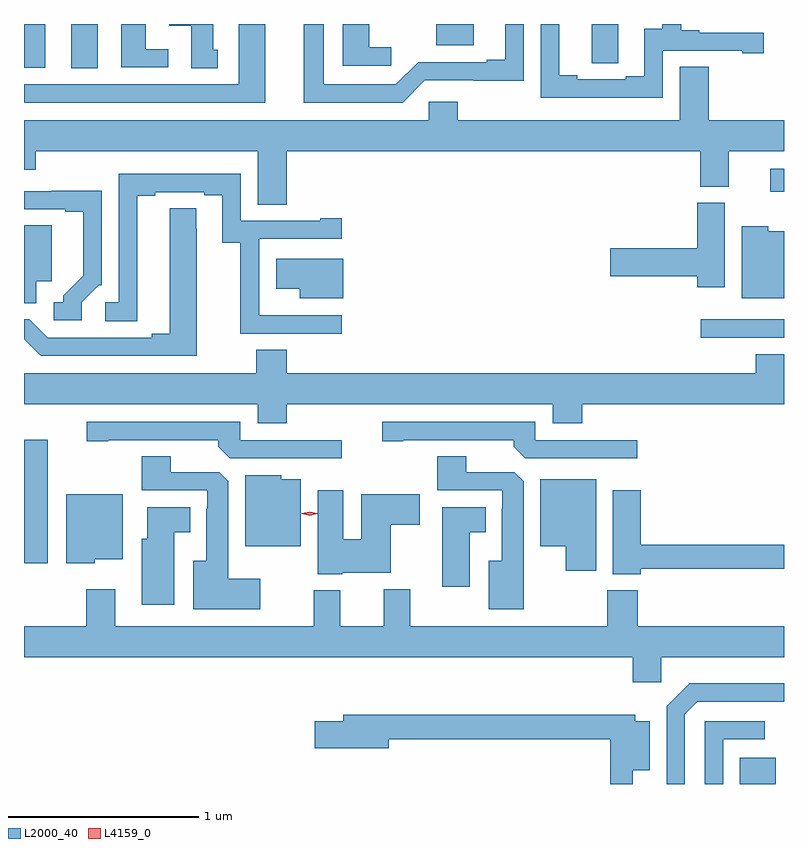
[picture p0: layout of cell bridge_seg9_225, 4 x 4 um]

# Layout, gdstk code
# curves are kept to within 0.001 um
import gdstk
lib = gdstk.Library(unit=1e-6, precision=1e-09)
def R(c, l, rs):  # rectangles x0, y0, x1, y1
    for r in rs: c.add(gdstk.rectangle(r[:2], r[2:], *l))
def P(c, l, *ps):  # polygons
    for p in ps: c.add(gdstk.Polygon(p, *l))
L2000_40 = (2000, 40)
L4159_0 = (4159, 0)

bridge_seg9_225 = lib.new_cell('bridge_seg9_225')
R(bridge_seg9_225, L2000_40, [(151.367,1193.09,151.555,1193.227), (147.599,1194.252,147.724,1194.901), (151.161,1195.44,151.599,1195.536), (151.527,1196.207,151.599,1196.329), (147.848,1196.857,147.988,1197.09), (147.599,1196.861,147.712,1197.09), (149.768,1196.978,149.965,1197.09)])
P(bridge_seg9_225, L2000_40, [(149.709,1196.793),(150.228,1196.792),(150.228,1197.09),(150.131,1197.09),(150.131,1196.902),(150.035,1196.902),(150.035,1196.889),(149.673,1196.889),(149.556,1196.772),(149.176,1196.772),(149.176,1197.09),(149.072,1197.09),(149.072,1196.676),(149.592,1196.676)],
  [(148.618,1196.955),(148.594,1196.955),(148.594,1197.09),(148.364,1197.09),(148.364,1197.08),(148.478,1197.08),(148.478,1196.857),(148.618,1196.857)],
  [(149.533,1196.968),(149.416,1196.968),(149.416,1197.09),(149.276,1197.09),(149.276,1196.871),(149.533,1196.871)],
  [(148.87,1197.09),(148.73,1197.09),(148.73,1196.772),(147.599,1196.772),(147.599,1196.676),(148.87,1196.676)],
  [(150.96,1196.949),(151.379,1196.949),(151.379,1196.937),(151.492,1196.937),(151.492,1197.045),(151.153,1197.045),(151.153,1197.058),(151.058,1197.058),(151.058,1197.09),(150.958,1197.09),(150.958,1197.065),(150.863,1197.065),(150.863,1196.814),(150.767,1196.814),(150.767,1196.799),(150.511,1196.799),(150.511,1196.819),(150.415,1196.819),(150.415,1197.09),(150.318,1197.09),(150.318,1196.703),(150.96,1196.703)],
  [(148.357,1196.958),(148.24,1196.958),(148.24,1197.09),(148.112,1197.09),(148.112,1196.862),(148.357,1196.862)],
  [(150.726,1196.992),(150.727,1196.992),(150.727,1197.09),(150.587,1197.09),(150.587,1196.884),(150.726,1196.884)],
  [(148.982,1196.42),(151.157,1196.42),(151.157,1196.233),(151.309,1196.233),(151.309,1196.42),(151.599,1196.42),(151.599,1196.584),(151.202,1196.584),(151.202,1196.864),(151.049,1196.864),(151.049,1196.584),(149.882,1196.584),(149.882,1196.682),(149.73,1196.682),(149.73,1196.584),(147.599,1196.584),(147.599,1196.322),(147.662,1196.322),(147.662,1196.42),(148.829,1196.42),(148.829,1196.14),(148.982,1196.14)],
  [(149.272,1195.557),(148.838,1195.557),(148.838,1195.558),(148.836,1195.558),(148.836,1195.959),(149.272,1195.959),(149.272,1196.068),(149.159,1196.068),(149.159,1196.055),(148.74,1196.055),(148.74,1196.301),(148.098,1196.301),(148.098,1195.626),(148.026,1195.626),(148.026,1195.525),(148.195,1195.525),(148.195,1196.185),(148.291,1196.185),(148.291,1196.205),(148.547,1196.205),(148.547,1196.19),(148.643,1196.19),(148.643,1195.939),(148.738,1195.939),(148.738,1195.461),(149.272,1195.461)],
  [(147.903,1195.626),(147.993,1195.716),(148.008,1195.716),(148.008,1196.213),(147.745,1196.213),(147.745,1196.211),(147.599,1196.211),(147.599,1196.115),(147.815,1196.115),(147.815,1196.103),(147.911,1196.103),(147.911,1195.766),(147.806,1195.661),(147.806,1195.626),(147.756,1195.626),(147.756,1195.53),(147.903,1195.53)],
  [(151.288,1196.148),(151.142,1196.148),(151.142,1195.91),(150.684,1195.91),(150.684,1195.763),(151.142,1195.763),(151.142,1195.704),(151.288,1195.704)],
  [(148.507,1196.012),(148.506,1196.12),(148.367,1196.12),(148.367,1195.46),(148.271,1195.46),(148.271,1195.44),(147.723,1195.44),(147.627,1195.536),(147.599,1195.536),(147.599,1195.432),(147.687,1195.344),(148.507,1195.344)],
  [(147.664,1195.736),(147.745,1195.736),(147.745,1196.03),(147.599,1196.03),(147.599,1195.621),(147.664,1195.621)],
  [(151.599,1195.999),(151.515,1195.999),(151.515,1196.026),(151.376,1196.026),(151.376,1195.646),(151.599,1195.646)],
  [(149.278,1195.855),(148.926,1195.855),(148.926,1195.697),(149.051,1195.697),(149.051,1195.646),(149.278,1195.646)],
  [(148.982,1195.088),(150.383,1195.088),(150.383,1194.989),(150.536,1194.989),(150.536,1195.088),(151.599,1195.088),(151.599,1195.351),(151.451,1195.351),(151.451,1195.252),(148.982,1195.252),(148.982,1195.376),(148.822,1195.376),(148.822,1195.252),(147.599,1195.252),(147.599,1195.088),(148.829,1195.088),(148.829,1194.989),(148.982,1194.989)],
  [(149.272,1194.9),(148.737,1194.9),(148.737,1194.996),(147.93,1194.996),(147.93,1194.895),(148.042,1194.895),(148.042,1194.9),(148.622,1194.9),(148.622,1194.866),(148.683,1194.804),(149.272,1194.804)],
  [(150.826,1194.9),(150.291,1194.9),(150.291,1194.996),(149.484,1194.996),(149.484,1194.895),(149.596,1194.895),(149.596,1194.9),(150.176,1194.9),(150.176,1194.866),(150.237,1194.804),(150.826,1194.804)],
  [(148.843,1194.169),(148.675,1194.169),(148.675,1194.683),(148.626,1194.732),(148.372,1194.732),(148.372,1194.815),(148.22,1194.815),(148.22,1194.636),(148.563,1194.636),(148.563,1194.539),(148.559,1194.539),(148.559,1194.265),(148.49,1194.265),(148.49,1194.011),(148.843,1194.011)],
  [(150.229,1194.683),(150.18,1194.732),(149.926,1194.732),(149.926,1194.815),(149.774,1194.815),(149.774,1194.636),(150.117,1194.636),(150.117,1194.539),(150.113,1194.539),(150.113,1194.265),(150.044,1194.265),(150.044,1194.011),(150.229,1194.011)],
  [(149.056,1194.694),(148.953,1194.694),(148.953,1194.715),(148.763,1194.715),(148.763,1194.341),(149.056,1194.341)],
  [(150.61,1194.694),(150.317,1194.694),(150.317,1194.341),(150.449,1194.341),(150.449,1194.213),(150.61,1194.213)],
  [(150.845,1194.222),(151.599,1194.222),(151.599,1194.35),(150.845,1194.35),(150.845,1194.637),(150.698,1194.637),(150.698,1194.194),(150.845,1194.194)],
  [(149.274,1194.203),(149.53,1194.203),(149.53,1194.454),(149.683,1194.454),(149.683,1194.616),(149.375,1194.616),(149.375,1194.379),(149.278,1194.379),(149.278,1194.637),(149.144,1194.637),(149.144,1194.194),(149.274,1194.194)],
  [(147.972,1194.272),(148.12,1194.272),(148.12,1194.616),(147.821,1194.616),(147.821,1194.251),(147.972,1194.251)],
  [(149.944,1194.416),(150.028,1194.416),(150.028,1194.547),(149.801,1194.547),(149.801,1194.129),(149.944,1194.129)],
  [(148.39,1194.416),(148.474,1194.416),(148.474,1194.547),(148.247,1194.547),(148.247,1194.381),(148.22,1194.381),(148.22,1194.033),(148.39,1194.033)],
  [(150.954,1193.756),(151.599,1193.756),(151.599,1193.92),(150.83,1193.92),(150.83,1194.109),(150.67,1194.109),(150.67,1193.92),(149.632,1193.92),(149.632,1194.115),(149.492,1194.115),(149.492,1193.92),(149.263,1193.92),(149.263,1194.109),(149.123,1194.109),(149.123,1193.92),(148.078,1193.92),(148.078,1194.115),(147.926,1194.115),(147.926,1193.92),(147.599,1193.92),(147.599,1193.756),(150.803,1193.756),(150.803,1193.625),(150.954,1193.625)],
  [(151.077,1193.457),(151.143,1193.523),(151.599,1193.523),(151.599,1193.62),(151.102,1193.62),(150.981,1193.499),(150.981,1193.09),(151.077,1193.09)],
  [(150.803,1193.162),(150.892,1193.162),(150.892,1193.419),(150.816,1193.419),(150.816,1193.455),(149.279,1193.455),(149.279,1193.421),(149.13,1193.421),(149.13,1193.279),(149.518,1193.279),(149.518,1193.326),(150.685,1193.326),(150.685,1193.09),(150.803,1193.09)],
  [(151.278,1193.325),(151.498,1193.325),(151.498,1193.421),(151.182,1193.421),(151.182,1193.09),(151.278,1193.09)])
P(bridge_seg9_225, L4159_0, [(149.102,1194.503),(149.062,1194.513),(149.062,1194.513),(149.062,1194.514),(149.102,1194.523),(149.142,1194.514),(149.142,1194.513),(149.142,1194.513)])

lib.write_gds('bridge_seg9_225.gds')
